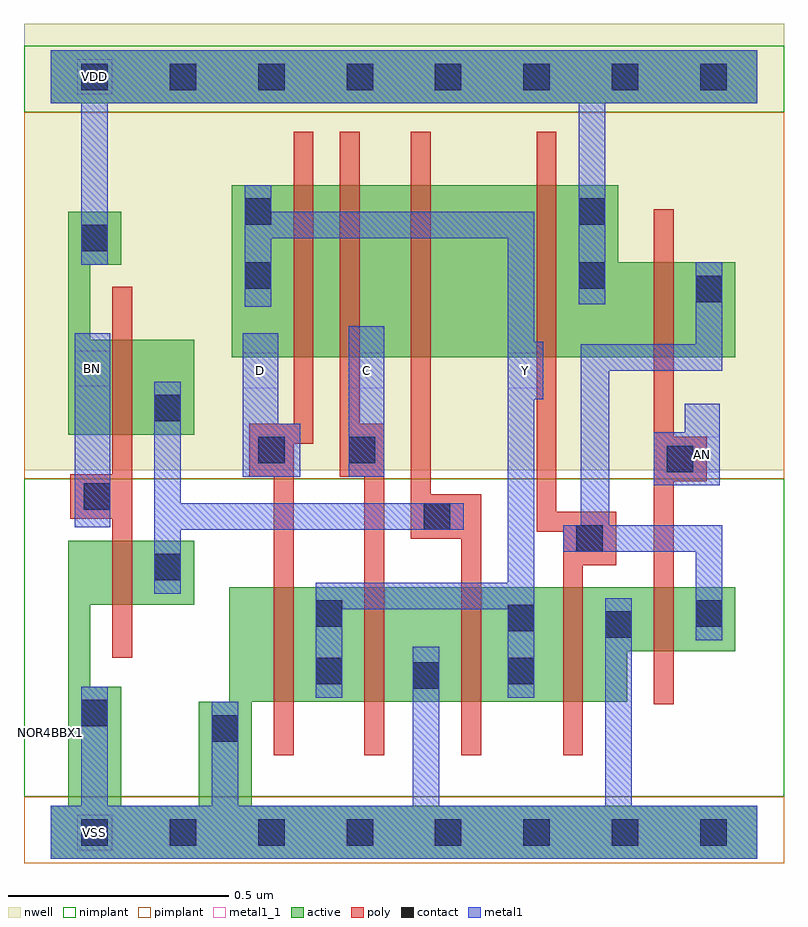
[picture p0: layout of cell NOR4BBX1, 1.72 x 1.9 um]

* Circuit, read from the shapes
.subckt NOR4BBX1 AN BN C D VDD VSS Y
M1 n1 BN VSS VSS nfet w=0.145u l=0.045u
M2 Y D VSS VSS nfet w=0.26u l=0.045u
M3 VSS C Y VSS nfet w=0.26u l=0.045u
M4 Y n1 VSS VSS nfet w=0.26u l=0.045u
M5 VSS n2 Y VSS nfet w=0.26u l=0.045u
M6 n2 AN VSS VSS nfet w=0.145u l=0.045u
M7 n1 BN VDD VDD pfet w=0.215u l=0.045u
M8 n3 D Y VDD pfet w=0.39u l=0.045u
M9 n4 C n3 VDD pfet w=0.39u l=0.045u
M10 n5 n1 n4 VDD pfet w=0.39u l=0.045u
M11 VDD n2 n5 VDD pfet w=0.39u l=0.045u
M12 n2 AN VDD VDD pfet w=0.215u l=0.045u
.ends

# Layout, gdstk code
import gdstk
lib = gdstk.Library(unit=1e-6, precision=5e-10)
def R(c, l, rs):  # rectangles x0, y0, x1, y1
    for r in rs: c.add(gdstk.rectangle(r[:2], r[2:], *l))
def A(c, l, x, y, w, h, nx, ny, dx, dy):  # array of equal rectangles
    R(c, l, [(x+i*dx, y+j*dy, x+i*dx+w, y+j*dy+h) for i in range(nx) for j in range(ny)])
def P(c, l, *ps):  # polygons
    for p in ps: c.add(gdstk.Polygon(p, *l))
active = (1, 0)
nwell = (2, 0)
poly = (3, 0)
nimplant = (4, 0)
pimplant = (5, 0)
contact = (6, 0)
metal1 = (7, 0)
metal1_1 = (7, 1)

nor4bbx1 = lib.new_cell('NOR4BBX1')
R(nor4bbx1, active, [(0,1.65,1.6,1.77)])
P(nor4bbx1, active, [(0.04,1.405),(0.16,1.405),(0.16,1.285),(0.09,1.285),(0.09,1.115),(0.325,1.115),(0.325,0.9),(0.04,0.9)],
  [(0.41,1.465),(1.285,1.465),(1.285,1.29),(1.55,1.29),(1.55,1.075),(0.41,1.075)],
  [(0.04,0.66),(0.325,0.66),(0.325,0.515),(0.09,0.515),(0.09,0.33),(0.16,0.33),(0.16,0.06),(0.335,0.06),(0.335,0.295),(0.405,0.295),(0.405,0.555),(1.55,0.555),(1.55,0.41),(1.305,0.41),(1.305,0.295),(0.455,0.295),(0.455,0.06),(1.6,0.06),(1.6,-0.06),(0,-0.06),(0,0.06),(0.04,0.06)])
R(nor4bbx1, nwell, [(-0.06,0.82,1.66,1.83)])
P(nor4bbx1, poly, [(0.55,1.585),(0.595,1.585),(0.595,0.88),(0.55,0.88),(0.55,0.175),(0.505,0.175),(0.505,0.805),(0.45,0.805),(0.45,0.925),(0.55,0.925)],
  [(0.655,1.585),(0.7,1.585),(0.7,0.925),(0.755,0.925),(0.755,0.175),(0.71,0.175),(0.71,0.805),(0.655,0.805)],
  [(0.815,1.585),(0.86,1.585),(0.86,0.765),(0.975,0.765),(0.975,0.175),(0.93,0.175),(0.93,0.665),(0.815,0.665)],
  [(1.1,1.585),(1.145,1.585),(1.145,0.725),(1.28,0.725),(1.28,0.605),(1.205,0.605),(1.205,0.175),(1.16,0.175),(1.16,0.68),(1.1,0.68)],
  [(0.14,1.235),(0.185,1.235),(0.185,0.395),(0.14,0.395),(0.14,0.71),(0.045,0.71),(0.045,0.81),(0.14,0.81)],
  [(1.365,1.41),(1.41,1.41),(1.41,0.895),(1.485,0.895),(1.485,0.795),(1.41,0.795),(1.41,0.29),(1.365,0.29)])
R(nor4bbx1, nimplant, [(-0.06,0.08,1.66,0.8), (-0.06,1.63,1.66,1.78)])
R(nor4bbx1, pimplant, [(-0.06,-0.07,1.66,0.08), (-0.06,0.8,1.66,1.63)])
A(nor4bbx1, contact, 0.07, -0.03, 0.06, 0.06, 8, 2, 0.2, 1.71)
R(nor4bbx1, contact, [(0.365,0.205,0.425,0.265), (0.07,0.24,0.13,0.3), (0.82,0.325,0.88,0.385), (0.6,0.335,0.66,0.395), (1.035,0.335,1.095,0.395), (1.255,0.44,1.315,0.5), (1.035,0.455,1.095,0.515), (0.6,0.465,0.66,0.525), (1.46,0.465,1.52,0.525), (0.235,0.57,0.295,0.63), (1.19,0.635,1.25,0.695), (0.845,0.685,0.905,0.745), (0.075,0.73,0.135,0.79), (1.395,0.815,1.455,0.875), (0.47,0.835,0.53,0.895), (0.675,0.835,0.735,0.895), (0.235,0.93,0.295,0.99), (1.46,1.2,1.52,1.26), (0.44,1.23,0.5,1.29), (1.195,1.23,1.255,1.29), (0.07,1.315,0.13,1.375), (0.44,1.375,0.5,1.435), (1.195,1.375,1.255,1.435)])
R(nor4bbx1, metal1, [(0.055,0.69,0.135,1.13), (0.675,0.805,0.755,1.145), (0.44,1.19,0.5,1.465)])
P(nor4bbx1, metal1, [(1.52,0.695),(1.16,0.695),(1.16,0.635),(1.46,0.635),(1.46,0.435),(1.52,0.435)],
  [(0,1.77),(1.6,1.77),(1.6,1.65),(1.255,1.65),(1.255,1.195),(1.195,1.195),(1.195,1.65),(0.13,1.65),(0.13,1.285),(0.07,1.285),(0.07,1.65),(0,1.65)],
  [(0.44,1.465),(0.5,1.465),(0.5,1.405),(1.095,1.405),(1.095,1.11),(1.115,1.11),(1.115,0.98),(1.095,0.98),(1.095,0.305),(1.035,0.305),(1.035,0.505),(0.66,0.505),(0.66,0.305),(0.6,0.305),(0.6,0.565),(1.035,0.565),(1.035,1.345),(0.44,1.345)],
  [(1.2,1.105),(1.46,1.105),(1.46,1.29),(1.52,1.29),(1.52,1.045),(1.265,1.045),(1.265,0.635),(1.2,0.635)],
  [(0.435,1.13),(0.515,1.13),(0.515,0.925),(0.565,0.925),(0.565,0.805),(0.435,0.805)],
  [(0.235,1.02),(0.295,1.02),(0.295,0.745),(0.935,0.745),(0.935,0.685),(0.295,0.685),(0.295,0.54),(0.235,0.54)],
  [(1.515,0.97),(1.435,0.97),(1.435,0.905),(1.365,0.905),(1.365,0.785),(1.515,0.785)],
  [(0.82,0.42),(0.88,0.42),(0.88,0.06),(1.255,0.06),(1.255,0.53),(1.315,0.53),(1.315,0.06),(1.6,0.06),(1.6,-0.06),(0,-0.06),(0,0.06),(0.07,0.06),(0.07,0.33),(0.13,0.33),(0.13,0.06),(0.365,0.06),(0.365,0.295),(0.425,0.295),(0.425,0.06),(0.82,0.06)])
R(nor4bbx1, metal1_1, [(0.06,-0.04,0.14,0.04), (1.435,0.815,1.515,0.895), (0.435,1.005,0.515,1.085), (0.675,1.005,0.755,1.085), (1.035,1.005,1.115,1.085), (0.055,1.01,0.135,1.09), (0.06,1.67,0.14,1.75)])
nor4bbx1.add(gdstk.Label('VSS', (0.1,0), layer=7, texttype=1))
nor4bbx1.add(gdstk.Label('Y', (1.075,1.045), layer=7, texttype=1))
nor4bbx1.add(gdstk.Label('D', (0.475,1.045), layer=7, texttype=1))
nor4bbx1.add(gdstk.Label('C', (0.715,1.045), layer=7, texttype=1))
nor4bbx1.add(gdstk.Label('AN', (1.475,0.855), layer=7, texttype=1))
nor4bbx1.add(gdstk.Label('BN', (0.095,1.05), layer=7, texttype=1))
nor4bbx1.add(gdstk.Label('VDD', (0.1,1.71), layer=7, texttype=1))
nor4bbx1.add(gdstk.Label('NOR4BBX1', (0,0.225), layer=63, texttype=0))

lib.write_gds('NOR4BBX1.gds')
